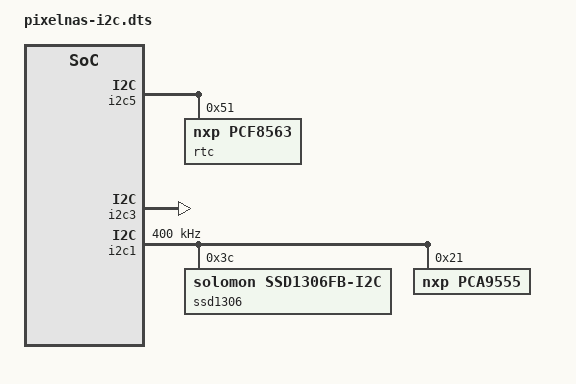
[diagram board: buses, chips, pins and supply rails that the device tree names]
/dts-v1/;
/plugin/;
/ {
	fragment@0 {
		target = <&i2c5>;
		__overlay__ {
			pinctrl-names = "default";
			pinctrl-0 = <&i2c5m0_xfer>;
			status = "okay";

			#address-cells = <1>;
            		#size-cells = <0>;

			rtc: rtc@51 {
                		compatible = "nxp,pcf8563";
                		reg = <0x51>;
                		status = "okay";
            		};

		};
	};
	fragment@1 {
		target = <&i2c3>;
		__overlay__ {
			pinctrl-names = "default";
			pinctrl-0 = <&i2c3m0_xfer>;
			status = "okay";
		};
	};
	fragment@2 {
		target = <&i2c1>;
		__overlay__ {
			clock-frequency = <400000>;
			#address-cells = <1>;
			#size-cells = <0>;

			pinctrl-names = "default";
			pinctrl-0 = <&i2c1_xfer>;
			status = "okay";

			ssd1306: oled@3c {
				compatible = "solomon,ssd1306fb-i2c"; 
       				reg = <0x3c>;			// ssd1306 I2C address
       				solomon,height = <32>;		// height
       				solomon,width = <128>;		// width
       				solomon,page-offset = <0>;	// page offset
				solomon,com-seq;		// fix page vertical order
				// solomon,segment-remap;
       				status = "okay";
			};			

			pca9555: gpio@21 {
				compatible = "nxp,pca9555";
				reg = <0x21>;
				gpio-controller;
				#gpio-cells = <2>;
				status = "okay";
			};
		};
	};
};
